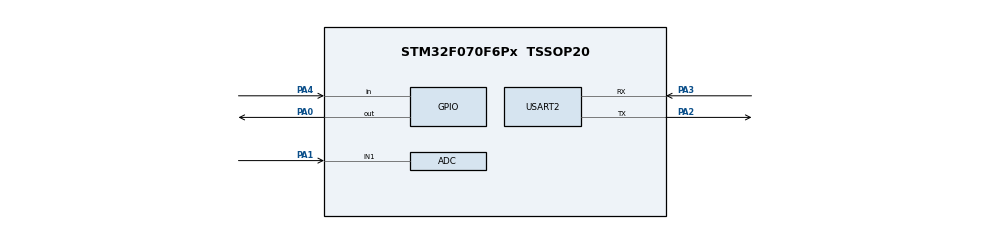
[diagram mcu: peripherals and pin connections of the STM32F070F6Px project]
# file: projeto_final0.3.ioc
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Mcu.Family=STM32F0
Mcu.Name=STM32F070F6Px
Mcu.Package=TSSOP20
PA0.Signal=GPIO_Output
PA1.Mode=IN1
PA1.Signal=ADC_IN1
PA13.Mode=Serial_Wire
PA13.Signal=SYS_SWDIO
PA14.Mode=Serial_Wire
PA14.Signal=SYS_SWCLK
PA2.Mode=Asynchronous
PA2.Signal=USART2_TX
PA3.Mode=Asynchronous
PA3.Signal=USART2_RX
PA4.GPIO_PuPd=GPIO_PULLDOWN
PA4.Signal=GPIO_Input
ProjectManager.HeapSize=0x200
ProjectManager.StackSize=0x400
ProjectManager.TargetToolchain=STM32CubeIDE
USART2.VirtualMode-Asynchronous=VM_ASYNC
board=custom

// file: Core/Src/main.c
/* USER CODE BEGIN Header */
/**
  ******************************************************************************
  * @file           : main.c
  * @brief          : Main program body
  ******************************************************************************
  * @attention
  *
  * Copyright (c) 2022 STMicroelectronics.
  * All rights reserved.
  *
  * This software is licensed under terms that can be found in the LICENSE file
  * in the root directory of this software component.
  * If no LICENSE file comes with this software, it is provided AS-IS.
  *
  ******************************************************************************
  */
/* USER CODE END Header */
#include "main.h"

ADC_HandleTypeDef hadc;

UART_HandleTypeDef huart2;

/* USER CODE BEGIN PV */
//uint8_t tx_dados[2];
//uint8_t rx_info[1];
/* USER CODE END PV */

void SystemClock_Config(void);
static void MX_GPIO_Init(void);
static void MX_ADC_Init(void);
static void MX_USART2_UART_Init(void);

int main(void)
{

  /* MCU Configuration--------------------------------------------------------*/

  /* Reset of all peripherals, Initializes the Flash interface and the Systick. */
  HAL_Init();

  /* Configure the system clock */
  SystemClock_Config();

  /* Initialize all configured peripherals */
  MX_GPIO_Init();
  MX_ADC_Init();
  MX_USART2_UART_Init();
  /* USER CODE BEGIN 2 */
    int valor, porcentagem, motor, cond_motor;

  /* USER CODE END 2 */

  /* Infinite loop */
  /* USER CODE BEGIN WHILE */
    while (1)
    {
      HAL_ADC_Start(&hadc);
      HAL_Delay(1000);
      valor = HAL_ADC_GetValue(&hadc);
      porcentagem = (3550-valor)/20;
      if (porcentagem > 100){
        porcentagem = 100;
      } else if (porcentagem < 0) {
        porcentagem = 0;
      }

      cond_motor = (HAL_GPIO_ReadPin(GPIOA, GPIO_PIN_4));

      if (cond_motor == 1){
        if ((porcentagem > 70)){
        HAL_GPIO_WritePin(GPIOA, GPIO_PIN_0, GPIO_PIN_SET);

        }
        if ((porcentagem < 40)){
        HAL_GPIO_WritePin(GPIOA, GPIO_PIN_0, GPIO_PIN_RESET);
        }
      } else{
        HAL_GPIO_WritePin(GPIOA, GPIO_PIN_0, GPIO_PIN_SET);
      }

      motor = (HAL_GPIO_ReadPin(GPIOA, GPIO_PIN_0));

      if (motor == 0){
        motor = 1;
      }
      else {
        motor = 0;
      }
      HAL_UART_Transmit(&huart2, &porcentagem, 1, 100);
      HAL_Delay(1000);
      HAL_UART_Transmit(&huart2, &motor, 1, 100);
      HAL_Delay(1000);
      //rx_info = 0;
    /* USER CODE END WHILE */

  }
}

void SystemClock_Config(void)
{
  RCC_OscInitTypeDef RCC_OscInitStruct = {0};
  RCC_ClkInitTypeDef RCC_ClkInitStruct = {0};

  /** Initializes the RCC Oscillators according to the specified parameters
  * in the RCC_OscInitTypeDef structure.
  */
  RCC_OscInitStruct.OscillatorType = RCC_OSCILLATORTYPE_HSI|RCC_OSCILLATORTYPE_HSI14;
  RCC_OscInitStruct.HSIState = RCC_HSI_ON;
  RCC_OscInitStruct.HSI14State = RCC_HSI14_ON;
  RCC_OscInitStruct.HSICalibrationValue = RCC_HSICALIBRATION_DEFAULT;
  RCC_OscInitStruct.HSI14CalibrationValue = 16;
  RCC_OscInitStruct.PLL.PLLState = RCC_PLL_NONE;
  if (HAL_RCC_OscConfig(&RCC_OscInitStruct) != HAL_OK)
  {
    Error_Handler();
  }

  /** Initializes the CPU, AHB and APB buses clocks
  */
  RCC_ClkInitStruct.ClockType = RCC_CLOCKTYPE_HCLK|RCC_CLOCKTYPE_SYSCLK
                              |RCC_CLOCKTYPE_PCLK1;
  RCC_ClkInitStruct.SYSCLKSource = RCC_SYSCLKSOURCE_HSI;
  RCC_ClkInitStruct.AHBCLKDivider = RCC_SYSCLK_DIV1;
  RCC_ClkInitStruct.APB1CLKDivider = RCC_HCLK_DIV1;

  if (HAL_RCC_ClockConfig(&RCC_ClkInitStruct, FLASH_LATENCY_0) != HAL_OK)
  {
    Error_Handler();
  }
}

static void MX_ADC_Init(void)
{

  ADC_ChannelConfTypeDef sConfig = {0};

  /** Configure the global features of the ADC (Clock, Resolution, Data Alignment and number of conversion)
  */
  hadc.Instance = ADC1;
  hadc.Init.ClockPrescaler = ADC_CLOCK_ASYNC_DIV1;
  hadc.Init.Resolution = ADC_RESOLUTION_12B;
  hadc.Init.DataAlign = ADC_DATAALIGN_RIGHT;
  hadc.Init.ScanConvMode = ADC_SCAN_DIRECTION_FORWARD;
  hadc.Init.EOCSelection = ADC_EOC_SINGLE_CONV;
  hadc.Init.LowPowerAutoWait = DISABLE;
  hadc.Init.LowPowerAutoPowerOff = DISABLE;
  hadc.Init.ContinuousConvMode = DISABLE;
  hadc.Init.DiscontinuousConvMode = DISABLE;
  hadc.Init.ExternalTrigConv = ADC_SOFTWARE_START;
  hadc.Init.ExternalTrigConvEdge = ADC_EXTERNALTRIGCONVEDGE_NONE;
  hadc.Init.DMAContinuousRequests = DISABLE;
  hadc.Init.Overrun = ADC_OVR_DATA_PRESERVED;
  if (HAL_ADC_Init(&hadc) != HAL_OK)
  {
    Error_Handler();
  }

  /** Configure for the selected ADC regular channel to be converted.
  */
  sConfig.Channel = ADC_CHANNEL_1;
  sConfig.Rank = ADC_RANK_CHANNEL_NUMBER;
  sConfig.SamplingTime = ADC_SAMPLETIME_1CYCLE_5;
  if (HAL_ADC_ConfigChannel(&hadc, &sConfig) != HAL_OK)
  {
    Error_Handler();
  }

}

static void MX_USART2_UART_Init(void)
{

  huart2.Instance = USART2;
  huart2.Init.BaudRate = 38400;
  huart2.Init.WordLength = UART_WORDLENGTH_8B;
  huart2.Init.StopBits = UART_STOPBITS_1;
  huart2.Init.Parity = UART_PARITY_NONE;
  huart2.Init.Mode = UART_MODE_TX_RX;
  huart2.Init.HwFlowCtl = UART_HWCONTROL_NONE;
  huart2.Init.OverSampling = UART_OVERSAMPLING_16;
  huart2.Init.OneBitSampling = UART_ONE_BIT_SAMPLE_DISABLE;
  huart2.AdvancedInit.AdvFeatureInit = UART_ADVFEATURE_NO_INIT;
  if (HAL_UART_Init(&huart2) != HAL_OK)
  {
    Error_Handler();
  }

}

static void MX_GPIO_Init(void)
{
  GPIO_InitTypeDef GPIO_InitStruct = {0};

  /* GPIO Ports Clock Enable */
  __HAL_RCC_GPIOA_CLK_ENABLE();

  /*Configure GPIO pin Output Level */
  HAL_GPIO_WritePin(GPIOA, GPIO_PIN_0, GPIO_PIN_RESET);

  /*Configure GPIO pin : PA0 */
  GPIO_InitStruct.Pin = GPIO_PIN_0;
  GPIO_InitStruct.Mode = GPIO_MODE_OUTPUT_PP;
  GPIO_InitStruct.Pull = GPIO_NOPULL;
  GPIO_InitStruct.Speed = GPIO_SPEED_FREQ_LOW;
  HAL_GPIO_Init(GPIOA, &GPIO_InitStruct);

  /*Configure GPIO pin : PA4 */
  GPIO_InitStruct.Pin = GPIO_PIN_4;
  GPIO_InitStruct.Mode = GPIO_MODE_INPUT;
  GPIO_InitStruct.Pull = GPIO_PULLDOWN;
  HAL_GPIO_Init(GPIOA, &GPIO_InitStruct);

}

void Error_Handler(void)
{
  __disable_irq();
  while (1)
  {
  }
}
